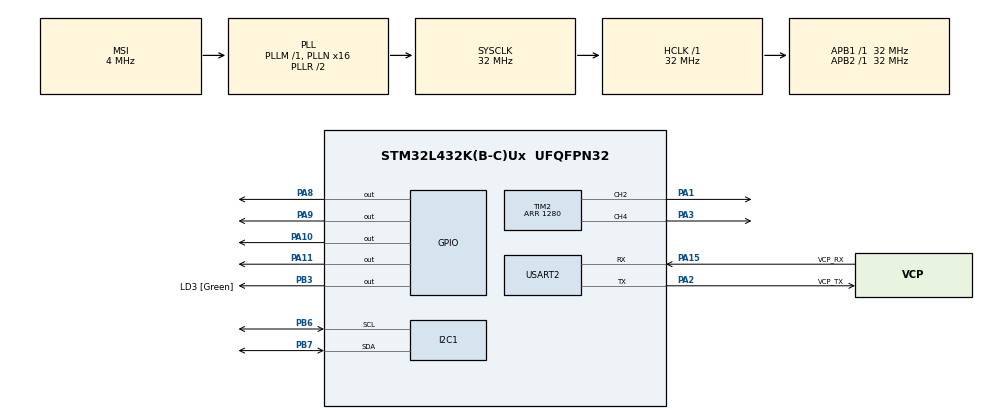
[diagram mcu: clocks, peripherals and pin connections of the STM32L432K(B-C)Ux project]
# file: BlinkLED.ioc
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I2C1.Timing=0x00707CBB
Mcu.Family=STM32L4
Mcu.Name=STM32L432K(B-C)Ux
Mcu.Package=UFQFPN32
NVIC.PriorityGroup=NVIC_PRIORITYGROUP_4
PA0.GPIO_Label=MCO [High speed clock in]
PA0.Mode=HSE-External-Clock-Source-for-LittleOrca
PA0.Signal=RCC_CK_IN
PA1.Signal=S_TIM2_CH2
PA10.Signal=GPIO_Output
PA11.Signal=GPIO_Output
PA13\ (JTMS-SWDIO).GPIO_Label=SWDIO
PA13\ (JTMS-SWDIO).Mode=Serial_Wire
PA13\ (JTMS-SWDIO).Signal=SYS_JTMS-SWDIO
PA14\ (JTCK-SWCLK).GPIO_Label=SWCLK
PA14\ (JTCK-SWCLK).Mode=Serial_Wire
PA14\ (JTCK-SWCLK).Signal=SYS_JTCK-SWCLK
PA15\ (JTDI).GPIO_Label=VCP_RX
PA15\ (JTDI).Mode=Asynchronous
PA15\ (JTDI).Signal=USART2_RX
PA2.GPIO_Label=VCP_TX
PA2.Mode=Asynchronous
PA2.Signal=USART2_TX
PA3.Signal=S_TIM2_CH4
PA8.Signal=GPIO_Output
PA9.Signal=GPIO_Output
PB3\ (JTDO-TRACESWO).GPIO_Label=LD3 [Green]
PB3\ (JTDO-TRACESWO).Signal=GPIO_Output
PB6.Mode=I2C
PB6.Signal=I2C1_SCL
PB7.Mode=I2C
PB7.Signal=I2C1_SDA
PC14-OSC32_IN\ (PC14).Mode=LSE-External-Oscillator
PC14-OSC32_IN\ (PC14).Signal=RCC_OSC32_IN
PC15-OSC32_OUT\ (PC15).Mode=LSE-External-Oscillator
PC15-OSC32_OUT\ (PC15).Signal=RCC_OSC32_OUT
ProjectManager.HeapSize=0x200
ProjectManager.StackSize=0x400
ProjectManager.TargetToolchain=STM32CubeIDE
RCC.AHBFreq_Value=32000000
RCC.APB1Freq_Value=32000000
RCC.APB1TimFreq_Value=32000000
RCC.APB2Freq_Value=32000000
RCC.APB2TimFreq_Value=32000000
RCC.CortexFreq_Value=32000000
RCC.HCLKFreq_Value=32000000
RCC.HSE_VALUE=8000000
RCC.HSI16_VALUE=16000000
RCC.HSI48_VALUE=48000000
RCC.HSI_VALUE=16000000
RCC.MSI_VALUE=4000000
RCC.PLLMUL=RCC_PLLMUL_4
RCC.PLLN=16
RCC.SYSCLKFreq_VALUE=32000000
RCC.SYSCLKSource=RCC_SYSCLKSOURCE_PLLCLK
RCC.VCOOutputFreq_Value=64000000
SH.S_TIM2_CH2.0=TIM2_CH2,PWM Generation2 CH2
SH.S_TIM2_CH4.0=TIM2_CH4,PWM Generation4 CH4
TIM2.Channel-PWM\ Generation2\ CH2=TIM_CHANNEL_2
TIM2.Channel-PWM\ Generation4\ CH4=TIM_CHANNEL_4
TIM2.Period=1280
USART2.VirtualMode-Asynchronous=VM_ASYNC
VP_TIM2_VS_ClockSourceINT.Mode=Internal
board=NUCLEO-L432KC

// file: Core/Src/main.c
/* USER CODE BEGIN Header */
/**
  ******************************************************************************
  * @file           : main.c
  * @brief          : Main program body
  ******************************************************************************
  * @attention
  *
  * Copyright (c) 2022 STMicroelectronics.
  * All rights reserved.
  *
  * This software is licensed under terms that can be found in the LICENSE file
  * in the root directory of this software component.
  * If no LICENSE file comes with this software, it is provided AS-IS.
  *
  ******************************************************************************
  */
/* USER CODE END Header */
#include "main.h"

/* USER CODE BEGIN Includes */

#include "TJ_MPU6050.h"
#include "controller.h"
#include "motor.h"

/* USER CODE END Includes */

 I2C_HandleTypeDef hi2c1;

TIM_HandleTypeDef htim2;

UART_HandleTypeDef huart2;

void SystemClock_Config(void);
static void MX_GPIO_Init(void);
static void MX_USART2_UART_Init(void);
static void MX_TIM2_Init(void);
static void MX_I2C1_Init(void);

int main(void)
{
  /* USER CODE BEGIN 1 */
	MPU_ConfigTypeDef myMPUconfigs;
	RawData_Def accelRaw, gyroRaw;
	ScaledData_Def accelScal, gyroScal;

	int16_t x = 0;
	int16_t y = 0;
	int16_t z = 0;

	struct a aStruct;
	aStruct.i = 0;

	struct ControllerData ctrData;
	initControllerdata(&ctrData);

  /* USER CODE END 1 */

  /* MCU Configuration--------------------------------------------------------*/

  /* Reset of all peripherals, Initializes the Flash interface and the Systick. */
  HAL_Init();

  /* Configure the system clock */
  SystemClock_Config();

  /* Initialize all configured peripherals */
  MX_GPIO_Init();
  MX_USART2_UART_Init();
  MX_TIM2_Init();
  MX_I2C1_Init();
  /* USER CODE BEGIN 2 */

  //*********************************** MPU - I2C init *******************

  MPU6050_Init(&hi2c1);
  myMPUconfigs.Accel_Full_Scale = AFS_SEL_4g;//Range and accuracy of accelometer (1)
  myMPUconfigs.CONFIG_DLPF = DLPF_184A_188G_Hz;
  myMPUconfigs.ClockSource = Internal_8MHz;
  myMPUconfigs.Gyro_Full_Scale = FS_SEL_500;
  myMPUconfigs.Sleep_Mode_Bit = 0; //1 = sleep mode
  MPU6050_Config(&myMPUconfigs);

  //Configurate the accel and gyro parameters

  //**********************************************************************
  /* USER CODE END 2 */

  /* Infinite loop */
  /* USER CODE BEGIN WHILE */
  HAL_TIM_PWM_Start(&htim2, TIM_CHANNEL_2);
  HAL_TIM_PWM_Start(&htim2, TIM_CHANNEL_4);

  while (1)
  {
    /* USER CODE END WHILE */

    /* USER CODE BEGIN 3 */

	  //MPU6050_Get_Accel_RawData(&accelRaw);
	  //MPU6050_Get_Gyro_RawData(&gyroRaw);

	  MPU6050_Get_Accel_Scale(&accelScal);
	  MPU6050_Get_Gyro_Scale(&gyroScal);

	  char iStr[15];
	  char outStr[15];
	  char xStr[15];

	  for(int i = 0; i < sizeof(outStr); i++){

		  outStr[i] = ' ';
		  iStr[i] = ' ';
		  xStr[i] = ' ';
	  }

	  sprintf(xStr, "x: %d", accelScal.x);
	  //sprintf(yStr, "y: %d", y);
	  //sprintf(zStr, "z: %d\n\r", z);

	  //char j[1];
	  //struct a* aStructPtr = &aStruct;
	  //increment(aStructPtr);
	  //sprintf(j, "%d", aStruct.i);
	  ctrData.currentValue = accelScal.x;

	  controlSpeed(&ctrData);

	  sprintf(xStr, "x: %d\t", ctrData.currentValue);
	  HAL_UART_Transmit(&huart2, xStr, sizeof(xStr), 10);
	  sprintf(outStr, "out: %d\t", ctrData.out);
	  HAL_UART_Transmit(&huart2, outStr, sizeof(outStr), 10);
	  sprintf(iStr, "I: %d\n\r", ctrData.IValue);
	  HAL_UART_Transmit(&huart2, iStr, sizeof(iStr), 10);

	  setSpeed(ceil(ctrData.out));

	  //HAL_UART_Transmit(&huart2, xStr, sizeof(xStr), 10);
	  //HAL_UART_Transmit(&huart2, yStr, sizeof(yStr), 10);
	  //HAL_UART_Transmit(&huart2, zStr, sizeof(zStr), 10);

	  HAL_Delay(100);
  }
  /* USER CODE END 3 */
}

void SystemClock_Config(void)
{
  RCC_OscInitTypeDef RCC_OscInitStruct = {0};
  RCC_ClkInitTypeDef RCC_ClkInitStruct = {0};

  /** Configure the main internal regulator output voltage
  */
  if (HAL_PWREx_ControlVoltageScaling(PWR_REGULATOR_VOLTAGE_SCALE1) != HAL_OK)
  {
    Error_Handler();
  }

  /** Configure LSE Drive Capability
  */
  HAL_PWR_EnableBkUpAccess();
  __HAL_RCC_LSEDRIVE_CONFIG(RCC_LSEDRIVE_LOW);

  /** Initializes the RCC Oscillators according to the specified parameters
  * in the RCC_OscInitTypeDef structure.
  */
  RCC_OscInitStruct.OscillatorType = RCC_OSCILLATORTYPE_LSE|RCC_OSCILLATORTYPE_MSI;
  RCC_OscInitStruct.LSEState = RCC_LSE_ON;
  RCC_OscInitStruct.MSIState = RCC_MSI_ON;
  RCC_OscInitStruct.MSICalibrationValue = 0;
  RCC_OscInitStruct.MSIClockRange = RCC_MSIRANGE_6;
  RCC_OscInitStruct.PLL.PLLState = RCC_PLL_ON;
  RCC_OscInitStruct.PLL.PLLSource = RCC_PLLSOURCE_MSI;
  RCC_OscInitStruct.PLL.PLLM = 1;
  RCC_OscInitStruct.PLL.PLLN = 16;
  RCC_OscInitStruct.PLL.PLLP = RCC_PLLP_DIV7;
  RCC_OscInitStruct.PLL.PLLQ = RCC_PLLQ_DIV2;
  RCC_OscInitStruct.PLL.PLLR = RCC_PLLR_DIV2;
  if (HAL_RCC_OscConfig(&RCC_OscInitStruct) != HAL_OK)
  {
    Error_Handler();
  }

  /** Initializes the CPU, AHB and APB buses clocks
  */
  RCC_ClkInitStruct.ClockType = RCC_CLOCKTYPE_HCLK|RCC_CLOCKTYPE_SYSCLK
                              |RCC_CLOCKTYPE_PCLK1|RCC_CLOCKTYPE_PCLK2;
  RCC_ClkInitStruct.SYSCLKSource = RCC_SYSCLKSOURCE_PLLCLK;
  RCC_ClkInitStruct.AHBCLKDivider = RCC_SYSCLK_DIV1;
  RCC_ClkInitStruct.APB1CLKDivider = RCC_HCLK_DIV1;
  RCC_ClkInitStruct.APB2CLKDivider = RCC_HCLK_DIV1;

  if (HAL_RCC_ClockConfig(&RCC_ClkInitStruct, FLASH_LATENCY_1) != HAL_OK)
  {
    Error_Handler();
  }

  /** Enable MSI Auto calibration
  */
  HAL_RCCEx_EnableMSIPLLMode();
}

static void MX_I2C1_Init(void)
{

  hi2c1.Instance = I2C1;
  hi2c1.Init.Timing = 0x00707CBB;
  hi2c1.Init.OwnAddress1 = 0;
  hi2c1.Init.AddressingMode = I2C_ADDRESSINGMODE_7BIT;
  hi2c1.Init.DualAddressMode = I2C_DUALADDRESS_DISABLE;
  hi2c1.Init.OwnAddress2 = 0;
  hi2c1.Init.OwnAddress2Masks = I2C_OA2_NOMASK;
  hi2c1.Init.GeneralCallMode = I2C_GENERALCALL_DISABLE;
  hi2c1.Init.NoStretchMode = I2C_NOSTRETCH_DISABLE;
  if (HAL_I2C_Init(&hi2c1) != HAL_OK)
  {
    Error_Handler();
  }

  /** Configure Analogue filter
  */
  if (HAL_I2CEx_ConfigAnalogFilter(&hi2c1, I2C_ANALOGFILTER_ENABLE) != HAL_OK)
  {
    Error_Handler();
  }

  /** Configure Digital filter
  */
  if (HAL_I2CEx_ConfigDigitalFilter(&hi2c1, 0) != HAL_OK)
  {
    Error_Handler();
  }

}

static void MX_TIM2_Init(void)
{

  TIM_ClockConfigTypeDef sClockSourceConfig = {0};
  TIM_MasterConfigTypeDef sMasterConfig = {0};
  TIM_OC_InitTypeDef sConfigOC = {0};

  htim2.Instance = TIM2;
  htim2.Init.Prescaler = 0;
  htim2.Init.CounterMode = TIM_COUNTERMODE_UP;
  htim2.Init.Period = 1280;
  htim2.Init.ClockDivision = TIM_CLOCKDIVISION_DIV1;
  htim2.Init.AutoReloadPreload = TIM_AUTORELOAD_PRELOAD_DISABLE;
  if (HAL_TIM_Base_Init(&htim2) != HAL_OK)
  {
    Error_Handler();
  }
  sClockSourceConfig.ClockSource = TIM_CLOCKSOURCE_INTERNAL;
  if (HAL_TIM_ConfigClockSource(&htim2, &sClockSourceConfig) != HAL_OK)
  {
    Error_Handler();
  }
  if (HAL_TIM_PWM_Init(&htim2) != HAL_OK)
  {
    Error_Handler();
  }
  sMasterConfig.MasterOutputTrigger = TIM_TRGO_RESET;
  sMasterConfig.MasterSlaveMode = TIM_MASTERSLAVEMODE_DISABLE;
  if (HAL_TIMEx_MasterConfigSynchronization(&htim2, &sMasterConfig) != HAL_OK)
  {
    Error_Handler();
  }
  sConfigOC.OCMode = TIM_OCMODE_PWM1;
  sConfigOC.Pulse = 0;
  sConfigOC.OCPolarity = TIM_OCPOLARITY_HIGH;
  sConfigOC.OCFastMode = TIM_OCFAST_DISABLE;
  if (HAL_TIM_PWM_ConfigChannel(&htim2, &sConfigOC, TIM_CHANNEL_2) != HAL_OK)
  {
    Error_Handler();
  }
  if (HAL_TIM_PWM_ConfigChannel(&htim2, &sConfigOC, TIM_CHANNEL_4) != HAL_OK)
  {
    Error_Handler();
  }
  HAL_TIM_MspPostInit(&htim2);

}

static void MX_USART2_UART_Init(void)
{

  huart2.Instance = USART2;
  huart2.Init.BaudRate = 115200;
  huart2.Init.WordLength = UART_WORDLENGTH_8B;
  huart2.Init.StopBits = UART_STOPBITS_1;
  huart2.Init.Parity = UART_PARITY_NONE;
  huart2.Init.Mode = UART_MODE_TX_RX;
  huart2.Init.HwFlowCtl = UART_HWCONTROL_NONE;
  huart2.Init.OverSampling = UART_OVERSAMPLING_16;
  huart2.Init.OneBitSampling = UART_ONE_BIT_SAMPLE_DISABLE;
  huart2.AdvancedInit.AdvFeatureInit = UART_ADVFEATURE_NO_INIT;
  if (HAL_UART_Init(&huart2) != HAL_OK)
  {
    Error_Handler();
  }

}

static void MX_GPIO_Init(void)
{
  GPIO_InitTypeDef GPIO_InitStruct = {0};

  /* GPIO Ports Clock Enable */
  __HAL_RCC_GPIOC_CLK_ENABLE();
  __HAL_RCC_GPIOA_CLK_ENABLE();
  __HAL_RCC_GPIOB_CLK_ENABLE();

  /*Configure GPIO pin Output Level */
  HAL_GPIO_WritePin(GPIOA, GPIO_PIN_8|GPIO_PIN_9|GPIO_PIN_10|GPIO_PIN_11, GPIO_PIN_RESET);

  /*Configure GPIO pin Output Level */
  HAL_GPIO_WritePin(LD3_GPIO_Port, LD3_Pin, GPIO_PIN_RESET);

  /*Configure GPIO pins : PA8 PA9 PA10 PA11 */
  GPIO_InitStruct.Pin = GPIO_PIN_8|GPIO_PIN_9|GPIO_PIN_10|GPIO_PIN_11;
  GPIO_InitStruct.Mode = GPIO_MODE_OUTPUT_PP;
  GPIO_InitStruct.Pull = GPIO_NOPULL;
  GPIO_InitStruct.Speed = GPIO_SPEED_FREQ_LOW;
  HAL_GPIO_Init(GPIOA, &GPIO_InitStruct);

  /*Configure GPIO pin : LD3_Pin */
  GPIO_InitStruct.Pin = LD3_Pin;
  GPIO_InitStruct.Mode = GPIO_MODE_OUTPUT_PP;
  GPIO_InitStruct.Pull = GPIO_NOPULL;
  GPIO_InitStruct.Speed = GPIO_SPEED_FREQ_LOW;
  HAL_GPIO_Init(LD3_GPIO_Port, &GPIO_InitStruct);

}

void Error_Handler(void)
{
  __disable_irq();
  while (1)
  {
  }
}
